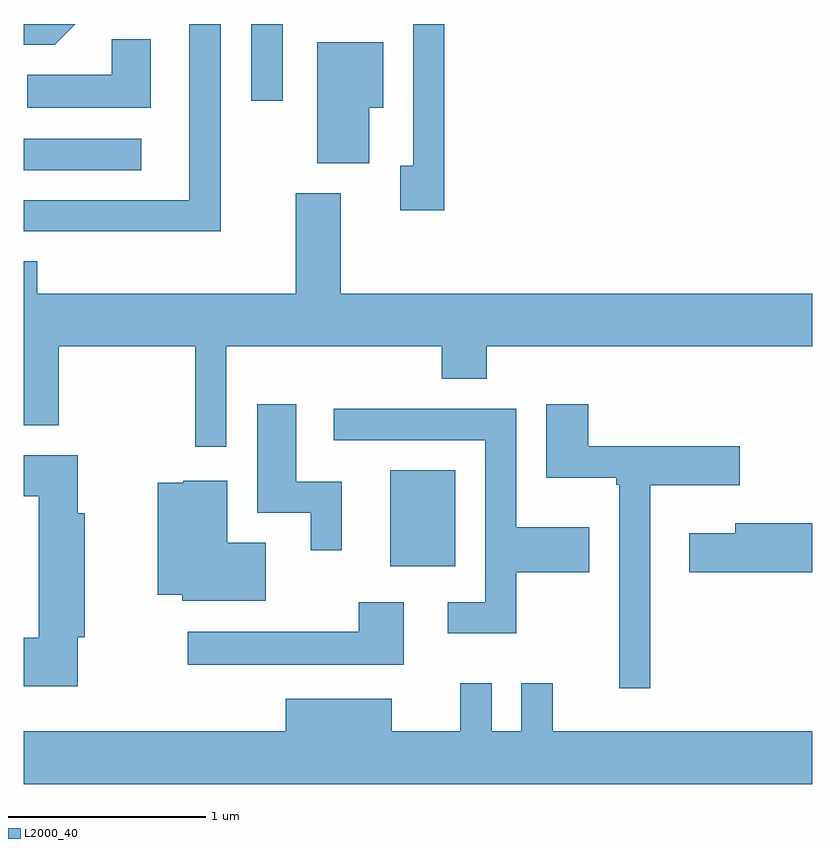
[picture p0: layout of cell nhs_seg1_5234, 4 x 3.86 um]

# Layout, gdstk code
import gdstk
lib = gdstk.Library(unit=1e-6, precision=1e-09)
def R(c, l, rs):  # rectangles x0, y0, x1, y1
    for r in rs: c.add(gdstk.rectangle(r[:2], r[2:], *l))
def P(c, l, *ps):  # polygons
    for p in ps: c.add(gdstk.Polygon(p, *l))
L2000_40 = (2000, 40)

nhs_seg1_5234 = lib.new_cell('nhs_seg1_5234')
R(nhs_seg1_5234, L2000_40, [(345.471,842.961,345.799,843.449), (343.611,844.971,344.208,845.129), (344.766,845.323,344.924,845.712)])
P(nhs_seg1_5234, L2000_40, [(344.609,845.712),(344.451,845.712),(344.451,844.819),(343.611,844.819),(343.611,844.661),(344.609,844.661)],
  [(343.873,845.712),(343.611,845.712),(343.611,845.606),(343.767,845.606)],
  [(345.744,845.712),(345.586,845.712),(345.586,844.994),(345.521,844.994),(345.521,844.766),(345.744,844.766)],
  [(344.254,845.634),(344.056,845.634),(344.056,845.454),(343.628,845.454),(343.628,845.286),(344.254,845.286)],
  [(345.364,845.286),(345.434,845.286),(345.434,845.619),(345.101,845.619),(345.101,845.006),(345.364,845.006)],
  [(345.219,844.854),(344.991,844.854),(344.991,844.344),(343.679,844.344),(343.679,844.509),(343.611,844.509),(343.611,843.676),(343.789,843.676),(343.789,844.076),(344.481,844.076),(344.481,843.568),(344.639,843.568),(344.639,844.076),(345.731,844.076),(345.731,843.911),(345.959,843.911),(345.959,844.076),(347.611,844.076),(347.611,844.344),(345.219,844.344)],
  [(345.224,843.389),(344.994,843.389),(344.994,843.784),(344.796,843.784),(344.796,843.231),(345.066,843.231),(345.066,843.043),(345.224,843.043)],
  [(346.789,843.371),(347.244,843.371),(347.244,843.569),(346.474,843.569),(346.474,843.784),(346.261,843.784),(346.261,843.411),(346.616,843.411),(346.616,843.375),(346.631,843.375),(346.631,842.343),(346.789,842.343)],
  [(346.109,842.931),(346.479,842.931),(346.479,843.159),(346.109,843.159),(346.109,843.759),(345.183,843.759),(345.183,843.601),(345.951,843.601),(345.951,842.779),(345.763,842.779),(345.763,842.621),(346.109,842.621)],
  [(343.884,842.601),(343.919,842.601),(343.919,843.229),(343.884,843.229),(343.884,843.524),(343.611,843.524),(343.611,843.316),(343.686,843.316),(343.686,842.599),(343.611,842.599),(343.611,842.351),(343.884,842.351)],
  [(344.839,843.079),(344.644,843.079),(344.644,843.394),(344.42,843.394),(344.42,843.384),(344.291,843.384),(344.291,842.816),(344.416,842.816),(344.416,842.786),(344.839,842.786)],
  [(347.611,843.179),(347.221,843.179),(347.221,843.129),(346.986,843.129),(346.986,842.931),(347.611,842.931)],
  [(345.539,842.779),(345.311,842.779),(345.311,842.629),(344.443,842.629),(344.443,842.461),(345.539,842.461)],
  [(347.611,842.124),(346.294,842.124),(346.294,842.368),(346.136,842.368),(346.136,842.124),(345.984,842.124),(345.984,842.368),(345.826,842.368),(345.826,842.124),(345.479,842.124),(345.479,842.289),(344.941,842.289),(344.941,842.124),(343.611,842.124),(343.611,841.856),(347.611,841.856)])

lib.write_gds('nhs_seg1_5234.gds')
